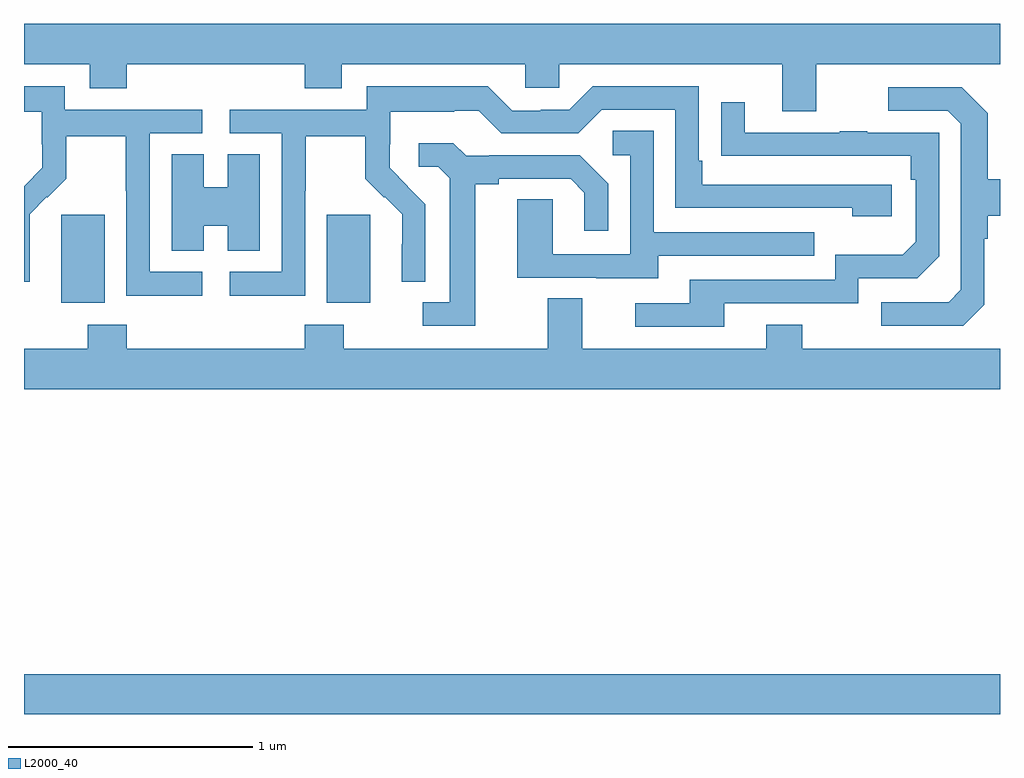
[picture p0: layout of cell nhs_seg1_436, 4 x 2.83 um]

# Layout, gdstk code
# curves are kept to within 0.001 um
import gdstk
lib = gdstk.Library(unit=1e-6, precision=1e-09)
def R(c, l, rs):  # rectangles x0, y0, x1, y1
    for r in rs: c.add(gdstk.rectangle(r[:2], r[2:], *l))
def P(c, l, *ps):  # polygons
    for p in ps: c.add(gdstk.Polygon(p, *l))
L2000_40 = (2000, 40)

nhs_seg1_436 = lib.new_cell('nhs_seg1_436')
R(nhs_seg1_436, L2000_40, [(135,538.412,139,538.576), (135.152,540.098,135.331,540.459), (136.241,540.098,136.42,540.459)])
P(nhs_seg1_436, L2000_40, [(138.247,541.076),(139,541.076),(139,541.24),(135,541.24),(135,541.076),(135.269,541.076),(135.269,540.977),(135.422,540.977),(135.422,541.076),(136.151,541.076),(136.151,540.977),(136.303,540.977),(136.303,541.076),(137.055,541.076),(137.055,540.978),(137.193,540.978),(137.193,541.076),(138.107,541.076),(138.107,540.882),(138.247,540.882)],
  [(135.73,540.225),(135.516,540.225),(135.516,540.792),(135.73,540.792),(135.73,540.888),(135.168,540.888),(135.168,540.985),(135,540.985),(135,540.881),(135.072,540.881),(135.072,540.747),(135.074,540.747),(135.074,540.65),(135,540.576),(135,540.184),(135.024,540.184),(135.023,540.461),(135.093,540.531),(135.096,540.528),(135.173,540.605),(135.173,540.78),(135.418,540.78),(135.418,540.556),(135.42,540.556),(135.42,540.127),(135.73,540.127)],
  [(136.152,540.556),(136.155,540.556),(136.155,540.78),(136.399,540.78),(136.399,540.605),(136.476,540.528),(136.479,540.531),(136.55,540.461),(136.55,540.338),(136.548,540.338),(136.548,540.184),(136.644,540.184),(136.644,540.502),(136.498,540.65),(136.498,540.747),(136.5,540.747),(136.5,540.881),(136.763,540.881),(136.763,540.885),(136.863,540.885),(136.956,540.792),(137.271,540.792),(137.367,540.888),(137.67,540.888),(137.67,540.486),(138.395,540.486),(138.395,540.452),(138.556,540.452),(138.556,540.582),(137.779,540.582),(137.779,540.679),(137.766,540.679),(137.766,540.984),(137.331,540.984),(137.235,540.888),(137.117,540.888),(137.117,540.885),(137.001,540.885),(136.901,540.985),(136.404,540.985),(136.404,540.888),(135.843,540.888),(135.843,540.792),(136.056,540.792),(136.056,540.225),(135.843,540.225),(135.843,540.127),(136.152,540.127)],
  [(138.936,540.09),(138.936,540.359),(138.949,540.359),(138.949,540.455),(139,540.455),(139,540.603),(138.949,540.603),(138.949,540.875),(138.843,540.981),(138.543,540.981),(138.543,540.885),(138.786,540.885),(138.84,540.831),(138.84,540.15),(138.789,540.099),(138.513,540.099),(138.513,540.003),(138.849,540.003)],
  [(137.869,540.096),(138.42,540.096),(138.42,540.198),(138.66,540.198),(138.75,540.288),(138.75,540.795),(138.455,540.795),(138.455,540.8),(138.343,540.8),(138.343,540.795),(137.953,540.795),(137.953,540.919),(137.857,540.919),(137.857,540.7),(138.634,540.699),(138.634,540.602),(138.654,540.602),(138.654,540.348),(138.601,540.295),(138.324,540.295),(138.324,540.192),(137.729,540.192),(137.729,540.096),(137.505,540.096),(137.505,540),(137.869,540)],
  [(137.599,540.291),(138.239,540.291),(138.239,540.387),(137.58,540.387),(137.58,540.803),(137.412,540.803),(137.412,540.702),(137.484,540.702),(137.484,540.297),(137.166,540.297),(137.166,540.521),(137.021,540.521),(137.021,540.201),(137.345,540.201),(137.345,540.197),(137.599,540.197)],
  [(136.849,540.584),(136.945,540.584),(136.945,540.606),(137.24,540.606),(137.297,540.549),(137.297,540.393),(137.394,540.393),(137.394,540.586),(137.278,540.702),(136.906,540.702),(136.906,540.699),(136.812,540.699),(136.76,540.751),(136.617,540.751),(136.617,540.654),(136.698,540.654),(136.745,540.607),(136.745,540.099),(136.635,540.099),(136.635,540.003),(136.849,540.003)],
  [(135.736,540.413),(135.836,540.413),(135.836,540.31),(135.967,540.31),(135.967,540.707),(135.836,540.707),(135.836,540.571),(135.736,540.571),(135.736,540.707),(135.605,540.707),(135.605,540.31),(135.736,540.31)],
  [(139,539.908),(138.189,539.908),(138.189,540.007),(138.041,540.007),(138.041,539.908),(137.287,539.908),(137.287,540.116),(137.147,540.116),(137.147,539.908),(136.311,539.908),(136.311,540.007),(136.151,540.007),(136.151,539.908),(135.422,539.908),(135.422,540.007),(135.262,540.007),(135.262,539.908),(135,539.908),(135,539.744),(139,539.744)])

lib.write_gds('nhs_seg1_436.gds')
